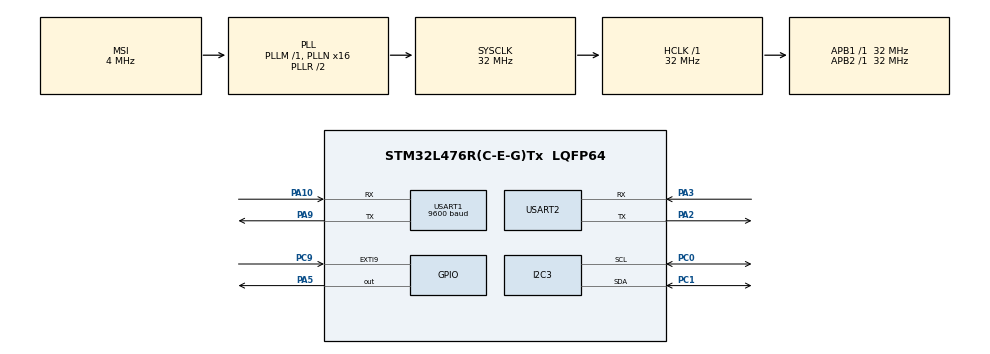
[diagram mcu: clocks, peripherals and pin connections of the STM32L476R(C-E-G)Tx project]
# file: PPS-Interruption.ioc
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I2C3.Timing=0x00707CBB
Mcu.Family=STM32L4
Mcu.Name=STM32L476R(C-E-G)Tx
Mcu.Package=LQFP64
NVIC.EXTI9_5_IRQn=true\:0\:0\:false\:false\:true\:true\:true\:true
NVIC.PriorityGroup=NVIC_PRIORITYGROUP_4
NVIC.TIM3_IRQn=true\:15\:0\:true\:false\:true\:true\:true\:true
NVIC.USART1_IRQn=true\:0\:0\:false\:false\:true\:true\:true\:true
PA10.Mode=Asynchronous
PA10.Signal=USART1_RX
PA2.Mode=Asynchronous
PA2.Signal=USART2_TX
PA3.Mode=Asynchronous
PA3.Signal=USART2_RX
PA5.Signal=GPIO_Output
PA9.Mode=Asynchronous
PA9.Signal=USART1_TX
PC0.GPIO_Pu=GPIO_PULLUP
PC0.Mode=I2C
PC0.Signal=I2C3_SCL
PC1.GPIO_Pu=GPIO_PULLUP
PC1.Mode=I2C
PC1.Signal=I2C3_SDA
PC9.Signal=GPXTI9
PH0-OSC_IN\ (PH0).Mode=HSE-External-Oscillator
PH0-OSC_IN\ (PH0).Signal=RCC_OSC_IN
PH1-OSC_OUT\ (PH1).Mode=HSE-External-Oscillator
PH1-OSC_OUT\ (PH1).Signal=RCC_OSC_OUT
ProjectManager.HeapSize=0x200
ProjectManager.StackSize=0x400
ProjectManager.TargetToolchain=STM32CubeIDE
RCC.ADCFreq_Value=16000000
RCC.AHBFreq_Value=32000000
RCC.APB1Freq_Value=32000000
RCC.APB1TimFreq_Value=32000000
RCC.APB2Freq_Value=32000000
RCC.APB2TimFreq_Value=32000000
RCC.CortexFreq_Value=32000000
RCC.HCLKFreq_Value=32000000
RCC.HSE_VALUE=8000000
RCC.HSI_VALUE=16000000
RCC.LSE_VALUE=32768
RCC.MSI_VALUE=4000000
RCC.PLLN=16
RCC.SYSCLKFreq_VALUE=32000000
RCC.SYSCLKSource=RCC_SYSCLKSOURCE_PLLCLK
RCC.USBFreq_Value=16000000
RCC.VCOOutputFreq_Value=64000000
TIM3.Period=3199
TIM3.Prescaler=999
USART1.BaudRate=9600
USART1.Mode=MODE_RX
USART1.VirtualMode-Asynchronous=VM_ASYNC
USART2.VirtualMode-Asynchronous=VM_ASYNC
USART2.WordLength=WORDLENGTH_7B
VP_TIM3_VS_ClockSourceINT.Mode=Internal
board=custom

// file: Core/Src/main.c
/* USER CODE BEGIN Header */
/**
  ******************************************************************************
  * @file           : main.c
  * @brief          : Main program body
  ******************************************************************************
  * @attention
  *
  * Copyright (c) 2024 STMicroelectronics.
  * All rights reserved.
  *
  * This software is licensed under terms that can be found in the LICENSE file
  * in the root directory of this software component.
  * If no LICENSE file comes with this software, it is provided AS-IS.
  *
  ******************************************************************************
  */
/* USER CODE END Header */
#include "main.h"
#include "i2c.h"
#include "tim.h"
#include "usart.h"
#include "gpio.h"

/* USER CODE BEGIN Includes */
#include "gps.h"
#include "display.h"
/* USER CODE END Includes */

/* USER CODE BEGIN PD */
#define PUTCHAR_PROTOTYPE int __io_putchar(int ch)
/* USER CODE END PD */

/* USER CODE BEGIN PV */

//int change = 0;
int milliseconds;
extern GPS_t GPS;

/* USER CODE END PV */

void SystemClock_Config(void);

int main(void)
{

  /* MCU Configuration--------------------------------------------------------*/

  /* Reset of all peripherals, Initializes the Flash interface and the Systick. */
  HAL_Init();

  /* Configure the system clock */
  SystemClock_Config();

  /* Initialize all configured peripherals */
  MX_GPIO_Init();
  MX_TIM3_Init();
  MX_USART2_UART_Init();
  MX_USART1_UART_Init();
  MX_I2C3_Init();
  /* USER CODE BEGIN 2 */
  GPS_Init();
  HAL_Delay(100);
  DISPLAY_Init();
  HAL_Delay(100);
  HAL_TIM_Base_Start_IT(&htim3);
  /* USER CODE END 2 */

  /* Infinite loop */
  while (1)
  {

  }
}

void SystemClock_Config(void)
{
  RCC_OscInitTypeDef RCC_OscInitStruct = {0};
  RCC_ClkInitTypeDef RCC_ClkInitStruct = {0};

  /** Configure the main internal regulator output voltage
  */
  if (HAL_PWREx_ControlVoltageScaling(PWR_REGULATOR_VOLTAGE_SCALE1) != HAL_OK)
  {
    Error_Handler();
  }

  /** Initializes the RCC Oscillators according to the specified parameters
  * in the RCC_OscInitTypeDef structure.
  */
  RCC_OscInitStruct.OscillatorType = RCC_OSCILLATORTYPE_MSI;
  RCC_OscInitStruct.MSIState = RCC_MSI_ON;
  RCC_OscInitStruct.MSICalibrationValue = 0;
  RCC_OscInitStruct.MSIClockRange = RCC_MSIRANGE_6;
  RCC_OscInitStruct.PLL.PLLState = RCC_PLL_ON;
  RCC_OscInitStruct.PLL.PLLSource = RCC_PLLSOURCE_MSI;
  RCC_OscInitStruct.PLL.PLLM = 1;
  RCC_OscInitStruct.PLL.PLLN = 16;
  RCC_OscInitStruct.PLL.PLLP = RCC_PLLP_DIV7;
  RCC_OscInitStruct.PLL.PLLQ = RCC_PLLQ_DIV2;
  RCC_OscInitStruct.PLL.PLLR = RCC_PLLR_DIV2;
  if (HAL_RCC_OscConfig(&RCC_OscInitStruct) != HAL_OK)
  {
    Error_Handler();
  }

  /** Initializes the CPU, AHB and APB buses clocks
  */
  RCC_ClkInitStruct.ClockType = RCC_CLOCKTYPE_HCLK|RCC_CLOCKTYPE_SYSCLK
                              |RCC_CLOCKTYPE_PCLK1|RCC_CLOCKTYPE_PCLK2;
  RCC_ClkInitStruct.SYSCLKSource = RCC_SYSCLKSOURCE_PLLCLK;
  RCC_ClkInitStruct.AHBCLKDivider = RCC_SYSCLK_DIV1;
  RCC_ClkInitStruct.APB1CLKDivider = RCC_HCLK_DIV1;
  RCC_ClkInitStruct.APB2CLKDivider = RCC_HCLK_DIV1;

  if (HAL_RCC_ClockConfig(&RCC_ClkInitStruct, FLASH_LATENCY_1) != HAL_OK)
  {
    Error_Handler();
  }
}

/* USER CODE BEGIN 4 */
void HAL_GPIO_EXTI_Callback(uint16_t GPIO_Pin)
{
  if(GPIO_Pin == GPIO_PIN_9) {
	  __HAL_TIM_SetCounter(&htim3, 0);
	  GPS.time.milli = 0;
	  DISPLAY_Seconds(GPS.time.seconds);
	  DISPLAY_Minutes(GPS.time.minute);
	  DISPLAY_Hour(GPS.time.hour);
	  /*
	  if (change == 0) {
		  DISPLAY_Point(7);
		  change = 1;
	  } else {
		  DISPLAY_WriteData(7, 0x00);
		  change = 0;
	  }
	   * */
  }
}

void HAL_TIM_PeriodElapsedCallback(TIM_HandleTypeDef* htim)
{
	  GPS.time.milli += 10;
	  DISPLAY_Milli(GPS.time.milli);
}

void HAL_UART_RxCpltCallback(UART_HandleTypeDef *huart)
{
	if(huart == &huart1) GPS_UART_CallBack();
}

PUTCHAR_PROTOTYPE
{
  /* Place your implementation of fputc here */
  /* e.g. write a character to the USART1 and Loop until the end of transmission */
	~(ch<<1);
	HAL_UART_Transmit(&huart2, (uint8_t *)&ch, 1, 0xFFFF);

  return ch;
}
/* USER CODE END 4 */

void Error_Handler(void)
{
  __disable_irq();
  while (1)
  {
  }
}
